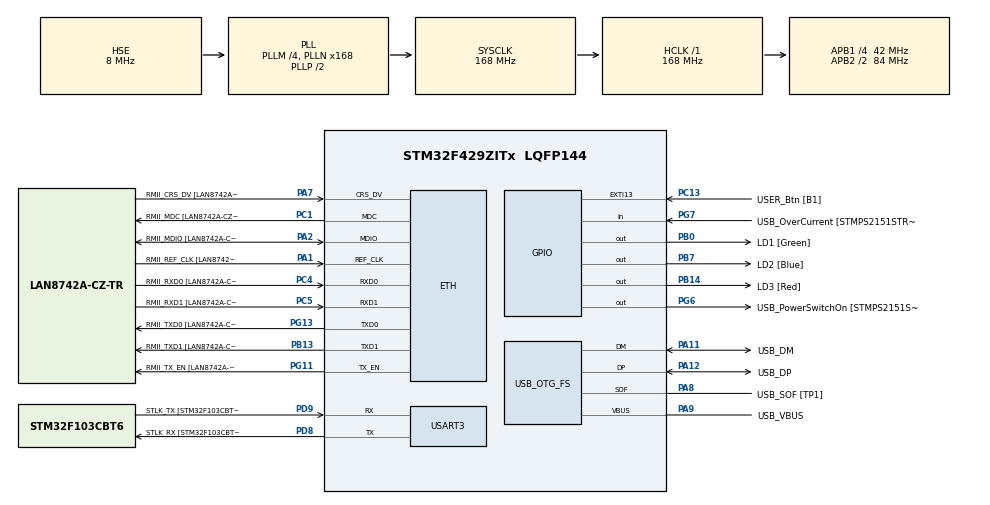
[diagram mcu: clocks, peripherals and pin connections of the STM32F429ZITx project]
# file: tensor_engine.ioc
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ETH.MediaInterface=HAL_ETH_RMII_MODE
ETH.PHY_Name=LAN8742A_PHY_ADDRESS
ETH.PHY_Value=0
ETH.PhyAddress=0
FREERTOS.Tasks01=defaultTask,24,128,StartDefaultTask,Default,NULL,Dynamic,NULL,NULL
FREERTOS.configUSE_NEWLIB_REENTRANT=1
Mcu.Family=STM32F4
Mcu.Name=STM32F429ZITx
Mcu.Package=LQFP144
NVIC.PriorityGroup=NVIC_PRIORITYGROUP_4
NVIC.TIM7_IRQn=true\:15\:0\:false\:false\:true\:false\:false\:true\:true
NVIC.TimeBase=TIM7_IRQn
NVIC.TimeBaseIP=TIM7
PA1.GPIO_Label=RMII_REF_CLK [LAN8742A-CZ-TR_REFCLK0]
PA1.Mode=RMII
PA1.Signal=ETH_REF_CLK
PA10.GPIO_Label=USB_ID
PA10.Signal=USB_OTG_FS_ID
PA11.GPIO_Label=USB_DM
PA11.Mode=Device_Only
PA11.Signal=USB_OTG_FS_DM
PA12.GPIO_Label=USB_DP
PA12.Mode=Device_Only
PA12.Signal=USB_OTG_FS_DP
PA13.GPIO_Label=TMS
PA13.Mode=Serial_Wire
PA13.Signal=SYS_JTMS-SWDIO
PA14.GPIO_Label=TCK
PA14.Mode=Serial_Wire
PA14.Signal=SYS_JTCK-SWCLK
PA2.GPIO_Label=RMII_MDIO [LAN8742A-CZ-TR_MDIO]
PA2.Mode=RMII
PA2.Signal=ETH_MDIO
PA7.GPIO_Label=RMII_CRS_DV [LAN8742A-CZ-TR_CRS_DV]
PA7.Mode=RMII
PA7.Signal=ETH_CRS_DV
PA8.GPIO_Label=USB_SOF [TP1]
PA8.Mode=Activate_SOF_FS
PA8.Signal=USB_OTG_FS_SOF
PA9.GPIO_Label=USB_VBUS
PA9.Mode=Activate_VBUS
PA9.Signal=USB_OTG_FS_VBUS
PB0.GPIO_Label=LD1 [Green]
PB0.Signal=GPIO_Output
PB13.GPIO_Label=RMII_TXD1 [LAN8742A-CZ-TR_TXD1]
PB13.Mode=RMII
PB13.Signal=ETH_TXD1
PB14.GPIO_Label=LD3 [Red]
PB14.Signal=GPIO_Output
PB7.GPIO_Label=LD2 [Blue]
PB7.Signal=GPIO_Output
PC1.GPIO_Label=RMII_MDC [LAN8742A-CZ-TR_MDC]
PC1.Mode=RMII
PC1.Signal=ETH_MDC
PC13.GPIO_Label=USER_Btn [B1]
PC13.Signal=GPXTI13
PC14/OSC32_IN.Mode=LSE-External-Oscillator
PC14/OSC32_IN.Signal=RCC_OSC32_IN
PC15/OSC32_OUT.Mode=LSE-External-Oscillator
PC15/OSC32_OUT.Signal=RCC_OSC32_OUT
PC4.GPIO_Label=RMII_RXD0 [LAN8742A-CZ-TR_RXD0]
PC4.Mode=RMII
PC4.Signal=ETH_RXD0
PC5.GPIO_Label=RMII_RXD1 [LAN8742A-CZ-TR_RXD1]
PC5.Mode=RMII
PC5.Signal=ETH_RXD1
PD8.GPIO_Label=STLK_RX [STM32F103CBT6_PA3]
PD8.Mode=Asynchronous
PD8.Signal=USART3_TX
PD9.GPIO_Label=STLK_TX [STM32F103CBT6_PA2]
PD9.Mode=Asynchronous
PD9.Signal=USART3_RX
PG11.GPIO_Label=RMII_TX_EN [LAN8742A-CZ-TR_TXEN]
PG11.Mode=RMII
PG11.Signal=ETH_TX_EN
PG13.GPIO_Label=RMII_TXD0 [LAN8742A-CZ-TR_TXD0]
PG13.Mode=RMII
PG13.Signal=ETH_TXD0
PG6.GPIO_Label=USB_PowerSwitchOn [STMPS2151STR_EN]
PG6.Signal=GPIO_Output
PG7.GPIO_Label=USB_OverCurrent [STMPS2151STR_FAULT]
PG7.Signal=GPIO_Input
PH0/OSC_IN.GPIO_Label=MCO [STM32F103CBT6_PA8]
PH0/OSC_IN.Mode=HSE-External-Clock-Source
PH0/OSC_IN.Signal=RCC_OSC_IN
PH1/OSC_OUT.Mode=HSE-External-Clock-Source
PH1/OSC_OUT.Signal=RCC_OSC_OUT
ProjectManager.HeapSize=0x200
ProjectManager.StackSize=0x400
ProjectManager.TargetToolchain=STM32CubeIDE
RCC.48MHZClocksFreq_Value=48000000
RCC.AHBFreq_Value=168000000
RCC.APB1CLKDivider=RCC_HCLK_DIV4
RCC.APB1Freq_Value=42000000
RCC.APB1TimFreq_Value=84000000
RCC.APB2CLKDivider=RCC_HCLK_DIV2
RCC.APB2Freq_Value=84000000
RCC.APB2TimCLKDivider=2
RCC.APB2TimFreq_Value=168000000
RCC.CortexFreq_Value=168000000
RCC.HCLKFreq_Value=168000000
RCC.HSE_VALUE=8000000
RCC.HSI_VALUE=16000000
RCC.PLLM=4
RCC.PLLMUL=RCC_PLL_MUL9
RCC.PLLN=168
RCC.PLLQ=7
RCC.PRESCALERUSB=RCC_USBCLKSOURCE_PLL_DIV1_5
RCC.SYSCLKFreq_VALUE=168000000
RCC.SYSCLKSource=RCC_SYSCLKSOURCE_PLLCLK
RCC.SYSCLKSourceVirtual=RCC_SYSCLKSOURCE_PLLCLK
RCC.USBFreq_Value=48000000
RCC.VCOOutputFreq_Value=336000000
USART3.VirtualMode=VM_ASYNC
USB_OTG_FS.VirtualMode=Device_Only
VP_FREERTOS_VS_CMSIS_V2.Mode=CMSIS_V2
VP_SYS_VS_tim7.Mode=TIM7
board=NUCLEO-F429ZI

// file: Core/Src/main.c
/* USER CODE BEGIN Header */
/**
  ******************************************************************************
  * @file           : main.c
  * @brief          : Main program body
  ******************************************************************************
  * @attention
  *
  * Copyright (c) 2026 STMicroelectronics.
  * All rights reserved.
  *
  * This software is licensed under terms that can be found in the LICENSE file
  * in the root directory of this software component.
  * If no LICENSE file comes with this software, it is provided AS-IS.
  *
  ******************************************************************************
  */
/* USER CODE END Header */
#include "main.h"
#include "string.h"
#include "cmsis_os.h"

/* USER CODE BEGIN Includes */
#include <stdio.h>
#include <stdlib.h>
#include <stdint.h>
#include "engine/c_bridge.h"
/* USER CODE END Includes */

/* USER CODE BEGIN PTD */
typedef struct {
    PredictorHandle handle;
} AdvancedPowerPredictor;
/* USER CODE END PTD */

ETH_TxPacketConfig TxConfig;
ETH_DMADescTypeDef  DMARxDscrTab[ETH_RX_DESC_CNT]; /* Ethernet Rx DMA Descriptors */
ETH_DMADescTypeDef  DMATxDscrTab[ETH_TX_DESC_CNT]; /* Ethernet Tx DMA Descriptors */

ETH_HandleTypeDef heth;

UART_HandleTypeDef huart3;

PCD_HandleTypeDef hpcd_USB_OTG_FS;

/* Definitions for defaultTask */
osThreadId_t defaultTaskHandle;
const osThreadAttr_t defaultTask_attributes = {
  .name = "defaultTask",
  .stack_size = 128 * 4,
  .priority = (osPriority_t) osPriorityNormal,
};

void SystemClock_Config(void);
static void MX_GPIO_Init(void);
static void MX_ETH_Init(void);
static void MX_USART3_UART_Init(void);
static void MX_USB_OTG_FS_PCD_Init(void);
void StartDefaultTask(void *argument);

/* USER CODE BEGIN PFP */
extern UART_HandleTypeDef huart3;

int __io_putchar(int ch) {
	HAL_UART_Transmit(&huart3, (uint8_t*) &ch, 1, HAL_MAX_DELAY);
	return ch;
}

AdvancedPowerPredictor create_advanced_power_predictor(void) {
    AdvancedPowerPredictor predictor;
    predictor.handle = create_predictor();
    // Layer 1: INT8 weights (Quantized int8 storage)
    predictor_add_layer(predictor.handle, create_linear_layer_with_dtype(5, 32, 0));
    predictor_add_layer(predictor.handle, create_batchnorm1d_layer(32, 1e-5f, 0.1f));
    predictor_add_layer(predictor.handle, create_leaky_relu_layer(0.1f));
    predictor_add_layer(predictor.handle, create_dropout_layer(0.2f));
    // Layer 2: FLOAT16 weights (Half precision IEEE 754 storage)
    predictor_add_layer(predictor.handle, create_linear_layer_with_dtype(32, 16, 3));
    predictor_add_layer(predictor.handle, create_batchnorm1d_layer(16, 1e-5f, 0.1f));
    predictor_add_layer(predictor.handle, create_leaky_relu_layer(0.1f));
    predictor_add_layer(predictor.handle, create_dropout_layer(0.2f));
    // Layer 3: FLOAT32 weights (Full precision single storage)
    predictor_add_layer(predictor.handle, create_linear_layer_with_dtype(16, 1, 4));
    return predictor;
}

void destroy_advanced_power_predictor(AdvancedPowerPredictor* predictor) {
    if (predictor && predictor->handle) {
        destroy_predictor(predictor->handle);
        predictor->handle = NULL;
    }
}
/* USER CODE END PFP */

/* USER CODE BEGIN 0 */
#define NUM_DATAPOINTS 60
#define INPUT_DIM 5
#define EPOCHS 100
#define LEARNING_RATE 0.005f
/* USER CODE END 0 */

int main(void)
{

  /* MCU Configuration--------------------------------------------------------*/

  /* Reset of all peripherals, Initializes the Flash interface and the Systick. */
  HAL_Init();

  /* Configure the system clock */
  SystemClock_Config();

  /* Initialize all configured peripherals */
  MX_GPIO_Init();
  MX_ETH_Init();
  MX_USART3_UART_Init();
  MX_USB_OTG_FS_PCD_Init();
  /* USER CODE BEGIN 2 */

  printf("\r\n");
  printf("+------------------------------------------------------------------+\r\n");
  printf("|                STM32 EDGE TENSOR ENGINE BENCHMARK                |\r\n");
  printf("|        Architecture: ARM Cortex-M4 @ 180MHz (STM32F429ZI)        |\r\n");
  printf("|        Quantization: INT8  |  Half-FP: FLOAT16  |  FP32          |\r\n");
  printf("+------------------------------------------------------------------+\r\n\r\n");

  uint32_t cpu_time_ms = 0;
  uint32_t cmsis_time_ms = 0;
  float cpu_final_loss = 0.0f;
  float cmsis_final_loss = 0.0f;
  float cpu_prediction = 0.0f;
  float cmsis_prediction = 0.0f;

  // =========================================================================
  // PASS 1: Training WITHOUT CMSIS-NN Acceleration (Standard CPU Fallback)
  // =========================================================================
  set_cmsis_nn_acceleration_enabled(0);
  srand(42);

  float* inputs1 = (float*)malloc(NUM_DATAPOINTS * INPUT_DIM * sizeof(float));
  float* targets1 = (float*)malloc(NUM_DATAPOINTS * sizeof(float));
  if (!inputs1 || !targets1) {
      printf("CRITICAL ERROR: Memory allocation failed!\r\n");
      while(1);
  }

  for (int i = 0; i < NUM_DATAPOINTS; i++) {
      inputs1[i * INPUT_DIM + 0] = (float)(i % 365) / 365.0f;
      inputs1[i * INPUT_DIM + 1] = (float)(i % 7) / 7.0f;
      inputs1[i * INPUT_DIM + 2] = (float)(rand() % 100) / 100.0f;
      inputs1[i * INPUT_DIM + 3] = 0.5f;
      inputs1[i * INPUT_DIM + 4] = 0.5f;
      targets1[i] = (inputs1[i * INPUT_DIM + 0] * 0.4f) +
                    (inputs1[i * INPUT_DIM + 2] * 0.6f) +
                    ((float)rand() / (float)RAND_MAX * 0.05f);
  }

  AdvancedPowerPredictor predictor_cpu = create_advanced_power_predictor();

  printf("+-- [PASS 1] Standard CPU Reference Backend (No Acceleration) -----+\r\n");

  uint32_t t_start_cpu = HAL_GetTick();
  for (int epoch = 1; epoch <= EPOCHS; epoch++) {
      cpu_final_loss = train_step(predictor_cpu.handle, inputs1, targets1, NUM_DATAPOINTS, LEARNING_RATE);
      if (epoch % 20 == 0 || epoch == EPOCHS) {
          int loss_int = (int)cpu_final_loss;
          int loss_frac = (int)((cpu_final_loss - loss_int) * 10000);
          printf("|  Epoch [%3d/%3d]  ------>  MSE Loss: %d.%04d                     |\r\n", epoch, EPOCHS, loss_int, loss_frac);
      }
  }
  cpu_time_ms = HAL_GetTick() - t_start_cpu;

  float test_input1[INPUT_DIM];
  for(int i = 0; i < INPUT_DIM; i++) test_input1[i] = inputs1[i];
  cpu_prediction = predict(predictor_cpu.handle, test_input1);

  int cpred_i = (int)cpu_prediction;
  int cpred_f = (int)((cpu_prediction - cpred_i) * 10000);
  int truth_i = (int)targets1[0];
  int truth_f = (int)((targets1[0] - truth_i) * 10000);
  printf("|  Execution Time   : %4lu ms                                      |\r\n", (unsigned long)cpu_time_ms);
  printf("|  Test Prediction  : %d.%04d (Ground Truth: %d.%04d)              |\r\n", cpred_i, cpred_f, truth_i, truth_f);
  printf("+------------------------------------------------------------------+\r\n\r\n");

  destroy_advanced_power_predictor(&predictor_cpu);
  free(inputs1);
  free(targets1);

  // =========================================================================
  // PASS 2: Training WITH CMSIS-NN Acceleration (ARM Cortex-M SIMD/DSP)
  // =========================================================================
  set_cmsis_nn_acceleration_enabled(1);
  srand(42);

  float* inputs2 = (float*)malloc(NUM_DATAPOINTS * INPUT_DIM * sizeof(float));
  float* targets2 = (float*)malloc(NUM_DATAPOINTS * sizeof(float));
  if (!inputs2 || !targets2) {
      printf("CRITICAL ERROR: Memory allocation failed!\r\n");
      while(1);
  }

  for (int i = 0; i < NUM_DATAPOINTS; i++) {
      inputs2[i * INPUT_DIM + 0] = (float)(i % 365) / 365.0f;
      inputs2[i * INPUT_DIM + 1] = (float)(i % 7) / 7.0f;
      inputs2[i * INPUT_DIM + 2] = (float)(rand() % 100) / 100.0f;
      inputs2[i * INPUT_DIM + 3] = 0.5f;
      inputs2[i * INPUT_DIM + 4] = 0.5f;
      targets2[i] = (inputs2[i * INPUT_DIM + 0] * 0.4f) +
                    (inputs2[i * INPUT_DIM + 2] * 0.6f) +
                    ((float)rand() / (float)RAND_MAX * 0.05f);
  }

  AdvancedPowerPredictor predictor_cmsis = create_advanced_power_predictor();

  printf("+-- [PASS 2] ARM CMSIS-NN Hardware Acceleration Backend (SIMD) ----+\r\n");

  uint32_t t_start_cmsis = HAL_GetTick();
  for (int epoch = 1; epoch <= EPOCHS; epoch++) {
      cmsis_final_loss = train_step(predictor_cmsis.handle, inputs2, targets2, NUM_DATAPOINTS, LEARNING_RATE);
      if (epoch % 20 == 0 || epoch == EPOCHS) {
          int loss_int = (int)cmsis_final_loss;
          int loss_frac = (int)((cmsis_final_loss - loss_int) * 10000);
          printf("|  Epoch [%3d/%3d]  ------>  MSE Loss: %d.%04d                     |\r\n", epoch, EPOCHS, loss_int, loss_frac);
      }
  }
  cmsis_time_ms = HAL_GetTick() - t_start_cmsis;

  float test_input2[INPUT_DIM];
  for(int i = 0; i < INPUT_DIM; i++) test_input2[i] = inputs2[i];
  cmsis_prediction = predict(predictor_cmsis.handle, test_input2);

  int npred_i = (int)cmsis_prediction;
  int npred_f = (int)((cmsis_prediction - npred_i) * 10000);
  printf("|  Execution Time   : %4lu ms                                      |\r\n", (unsigned long)cmsis_time_ms);
  printf("|  Test Prediction  : %d.%04d (Ground Truth: %d.%04d)              |\r\n", npred_i, npred_f, truth_i, truth_f);
  printf("+------------------------------------------------------------------+\r\n\r\n");

  destroy_advanced_power_predictor(&predictor_cmsis);
  free(inputs2);
  free(targets2);

  // =========================================================================
  // BENCHMARK COMPARISON REPORT
  // =========================================================================
  printf("+------------------------------------------------------------------+\r\n");
  printf("|                   BENCHMARK EXECUTION SUMMARY                    |\r\n");
  printf("+----------------------+-+--------------+-+--------------+-+-------+\r\n");
  printf("| Backend Mode         | | Exec Time    | | Final MSE    | | Output|\r\n");
  printf("+----------------------+-+--------------+-+--------------+-+-------+\r\n");

  int closs_i = (int)cpu_final_loss;
  int closs_f = (int)((cpu_final_loss - closs_i) * 10000);
  printf("| CPU Reference        | | %4lu ms       | | %d.%04d       | | %d.%04d|\r\n", (unsigned long)cpu_time_ms, closs_i, closs_f, cpred_i, cpred_f);

  int nloss_i = (int)cmsis_final_loss;
  int nloss_f = (int)((cmsis_final_loss - nloss_i) * 10000);
  printf("| CMSIS-NN Accelerated | | %4lu ms       | | %d.%04d       | | %d.%04d|\r\n", (unsigned long)cmsis_time_ms, nloss_i, nloss_f, npred_i, npred_f);

  printf("+----------------------+-+--------------+-+--------------+-+-------+\r\n\r\n");

  /* USER CODE END 2 */

  /* Init scheduler */
  osKernelInitialize();

  /* Create the thread(s) */
  /* creation of defaultTask */
  defaultTaskHandle = osThreadNew(StartDefaultTask, NULL, &defaultTask_attributes);

  /* Start scheduler */
  osKernelStart();

  /* We should never get here as control is now taken by the scheduler */

  /* Infinite loop */
  while (1)
  {

  }
}

void SystemClock_Config(void)
{
  RCC_OscInitTypeDef RCC_OscInitStruct = {0};
  RCC_ClkInitTypeDef RCC_ClkInitStruct = {0};

  /** Configure the main internal regulator output voltage
  */
  __HAL_RCC_PWR_CLK_ENABLE();
  __HAL_PWR_VOLTAGESCALING_CONFIG(PWR_REGULATOR_VOLTAGE_SCALE1);

  /** Initializes the RCC Oscillators according to the specified parameters
  * in the RCC_OscInitTypeDef structure.
  */
  RCC_OscInitStruct.OscillatorType = RCC_OSCILLATORTYPE_HSE;
  RCC_OscInitStruct.HSEState = RCC_HSE_BYPASS;
  RCC_OscInitStruct.PLL.PLLState = RCC_PLL_ON;
  RCC_OscInitStruct.PLL.PLLSource = RCC_PLLSOURCE_HSE;
  RCC_OscInitStruct.PLL.PLLM = 4;
  RCC_OscInitStruct.PLL.PLLN = 168;
  RCC_OscInitStruct.PLL.PLLP = RCC_PLLP_DIV2;
  RCC_OscInitStruct.PLL.PLLQ = 7;
  if (HAL_RCC_OscConfig(&RCC_OscInitStruct) != HAL_OK)
  {
    Error_Handler();
  }

  /** Initializes the CPU, AHB and APB buses clocks
  */
  RCC_ClkInitStruct.ClockType = RCC_CLOCKTYPE_HCLK|RCC_CLOCKTYPE_SYSCLK
                              |RCC_CLOCKTYPE_PCLK1|RCC_CLOCKTYPE_PCLK2;
  RCC_ClkInitStruct.SYSCLKSource = RCC_SYSCLKSOURCE_PLLCLK;
  RCC_ClkInitStruct.AHBCLKDivider = RCC_SYSCLK_DIV1;
  RCC_ClkInitStruct.APB1CLKDivider = RCC_HCLK_DIV4;
  RCC_ClkInitStruct.APB2CLKDivider = RCC_HCLK_DIV2;

  if (HAL_RCC_ClockConfig(&RCC_ClkInitStruct, FLASH_LATENCY_5) != HAL_OK)
  {
    Error_Handler();
  }
}

static void MX_ETH_Init(void)
{

   static uint8_t MACAddr[6];

  heth.Instance = ETH;
  MACAddr[0] = 0x00;
  MACAddr[1] = 0x80;
  MACAddr[2] = 0xE1;
  MACAddr[3] = 0x00;
  MACAddr[4] = 0x00;
  MACAddr[5] = 0x00;
  heth.Init.MACAddr = &MACAddr[0];
  heth.Init.MediaInterface = HAL_ETH_RMII_MODE;
  heth.Init.TxDesc = DMATxDscrTab;
  heth.Init.RxDesc = DMARxDscrTab;
  heth.Init.RxBuffLen = 1524;

  if (HAL_ETH_Init(&heth) != HAL_OK)
  {
    Error_Handler();
  }

  memset(&TxConfig, 0 , sizeof(ETH_TxPacketConfig));
  TxConfig.Attributes = ETH_TX_PACKETS_FEATURES_CSUM | ETH_TX_PACKETS_FEATURES_CRCPAD;
  TxConfig.ChecksumCtrl = ETH_CHECKSUM_IPHDR_PAYLOAD_INSERT_PHDR_CALC;
  TxConfig.CRCPadCtrl = ETH_CRC_PAD_INSERT;

}

static void MX_USART3_UART_Init(void)
{

  huart3.Instance = USART3;
  huart3.Init.BaudRate = 115200;
  huart3.Init.WordLength = UART_WORDLENGTH_8B;
  huart3.Init.StopBits = UART_STOPBITS_1;
  huart3.Init.Parity = UART_PARITY_NONE;
  huart3.Init.Mode = UART_MODE_TX_RX;
  huart3.Init.HwFlowCtl = UART_HWCONTROL_NONE;
  huart3.Init.OverSampling = UART_OVERSAMPLING_16;
  if (HAL_UART_Init(&huart3) != HAL_OK)
  {
    Error_Handler();
  }

}

static void MX_USB_OTG_FS_PCD_Init(void)
{

  hpcd_USB_OTG_FS.Instance = USB_OTG_FS;
  hpcd_USB_OTG_FS.Init.dev_endpoints = 4;
  hpcd_USB_OTG_FS.Init.speed = PCD_SPEED_FULL;
  hpcd_USB_OTG_FS.Init.dma_enable = DISABLE;
  hpcd_USB_OTG_FS.Init.phy_itface = PCD_PHY_EMBEDDED;
  hpcd_USB_OTG_FS.Init.Sof_enable = ENABLE;
  hpcd_USB_OTG_FS.Init.low_power_enable = DISABLE;
  hpcd_USB_OTG_FS.Init.lpm_enable = DISABLE;
  hpcd_USB_OTG_FS.Init.vbus_sensing_enable = ENABLE;
  hpcd_USB_OTG_FS.Init.use_dedicated_ep1 = DISABLE;
  if (HAL_PCD_Init(&hpcd_USB_OTG_FS) != HAL_OK)
  {
    Error_Handler();
  }

}

static void MX_GPIO_Init(void)
{
  GPIO_InitTypeDef GPIO_InitStruct = {0};

  /* GPIO Ports Clock Enable */
  __HAL_RCC_GPIOC_CLK_ENABLE();
  __HAL_RCC_GPIOH_CLK_ENABLE();
  __HAL_RCC_GPIOA_CLK_ENABLE();
  __HAL_RCC_GPIOB_CLK_ENABLE();
  __HAL_RCC_GPIOD_CLK_ENABLE();
  __HAL_RCC_GPIOG_CLK_ENABLE();

  /*Configure GPIO pin Output Level */
  HAL_GPIO_WritePin(GPIOB, LD1_Pin|LD3_Pin|LD2_Pin, GPIO_PIN_RESET);

  /*Configure GPIO pin Output Level */
  HAL_GPIO_WritePin(USB_PowerSwitchOn_GPIO_Port, USB_PowerSwitchOn_Pin, GPIO_PIN_RESET);

  /*Configure GPIO pin : USER_Btn_Pin */
  GPIO_InitStruct.Pin = USER_Btn_Pin;
  GPIO_InitStruct.Mode = GPIO_MODE_IT_RISING;
  GPIO_InitStruct.Pull = GPIO_NOPULL;
  HAL_GPIO_Init(USER_Btn_GPIO_Port, &GPIO_InitStruct);

  /*Configure GPIO pins : LD1_Pin LD3_Pin LD2_Pin */
  GPIO_InitStruct.Pin = LD1_Pin|LD3_Pin|LD2_Pin;
  GPIO_InitStruct.Mode = GPIO_MODE_OUTPUT_PP;
  GPIO_InitStruct.Pull = GPIO_NOPULL;
  GPIO_InitStruct.Speed = GPIO_SPEED_FREQ_LOW;
  HAL_GPIO_Init(GPIOB, &GPIO_InitStruct);

  /*Configure GPIO pin : USB_PowerSwitchOn_Pin */
  GPIO_InitStruct.Pin = USB_PowerSwitchOn_Pin;
  GPIO_InitStruct.Mode = GPIO_MODE_OUTPUT_PP;
  GPIO_InitStruct.Pull = GPIO_NOPULL;
  GPIO_InitStruct.Speed = GPIO_SPEED_FREQ_LOW;
  HAL_GPIO_Init(USB_PowerSwitchOn_GPIO_Port, &GPIO_InitStruct);

  /*Configure GPIO pin : USB_OverCurrent_Pin */
  GPIO_InitStruct.Pin = USB_OverCurrent_Pin;
  GPIO_InitStruct.Mode = GPIO_MODE_INPUT;
  GPIO_InitStruct.Pull = GPIO_NOPULL;
  HAL_GPIO_Init(USB_OverCurrent_GPIO_Port, &GPIO_InitStruct);

}

void StartDefaultTask(void *argument)
{
  for(;;)
  {
    osDelay(1);
  }
}

void HAL_TIM_PeriodElapsedCallback(TIM_HandleTypeDef *htim)
{
  if (htim->Instance == TIM7)
  {
    HAL_IncTick();
  }
}

void Error_Handler(void)
{
  __disable_irq();
  while (1)
  {
  }
}
